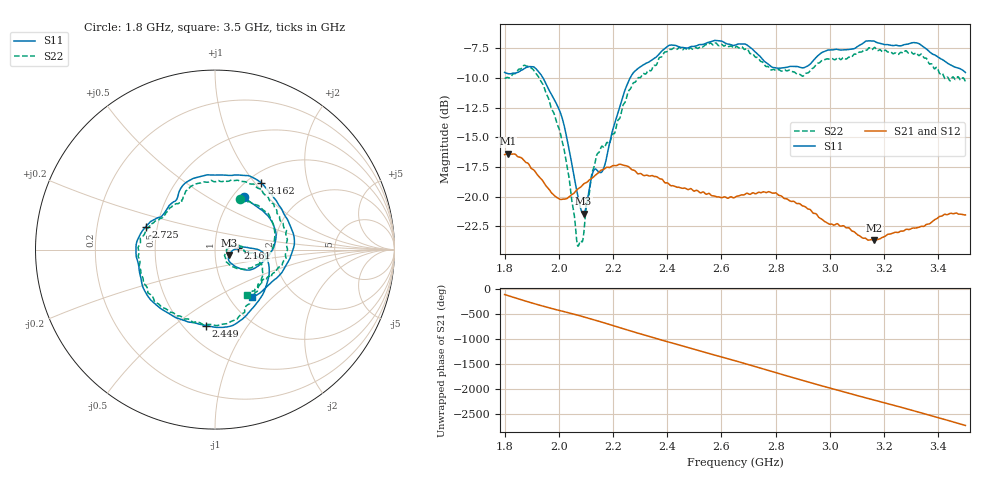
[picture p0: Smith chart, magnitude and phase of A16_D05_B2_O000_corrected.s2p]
! Created with skrf 1.9.0 (http://scikit-rf.org).
# Hz S RI R 50.0
!freq ReS11 ImS11 ReS21 ImS21 ReS12 ImS12 ReS22 ImS22
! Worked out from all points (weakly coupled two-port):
!   1601 points, 1.8 GHz to 3.5 GHz, reference 50 ohm
!   highest |S21| = -16.38 dB at 1.812 GHz (marker M1); lowest = -23.7 dB at 3.163 GHz (marker M2)
!   lowest |S11| = -21.4 dB at 2.091 GHz (marker M3), VSWR 1.18, Z = 58.5 - j3.59 ohm
!   |S11| at or under -10 dB: 1.942 GHz to 2.263 GHz (320.7 MHz wide, 15.3 % of centre)
!   |S22| runs from -24.2 to -7.0 dB; largest |S21 - S12| = 0.0027
!   S11 on the Smith chart (normalised r, x): 1.8 GHz: 1.13, +0.74; 2.161 GHz: 1.29, +0.02; 2.449 GHz: 0.64, -0.66; 2.725 GHz: 0.43, +0.13; 3.162 GHz: 1.15, +1.08; 3.5 GHz: 1.27, -0.75
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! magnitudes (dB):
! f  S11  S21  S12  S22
! 1.8 GHz  -9.5  -16.5  -16.5  -10.0
! 1.812 GHz  -9.6  -16.4  -16.4  -10.0
! 1.881 GHz  -9.1  -17.1  -17.1  -9.0
! 1.941 GHz  -10.0  -18.7  -18.7  -10.5
! 2.013 GHz  -13.4  -20.2  -20.2  -15.4
! 2.068 GHz  -19.7  -19.4  -19.4  -24.0
! 2.084 GHz  -21.2  -19.1  -19.1  -23.8
! 2.091 GHz  -21.4  -19.0  -19.0  -23.3
! 2.126 GHz  -17.9  -18.4  -18.4  -17.7
! 2.161 GHz  -17.9  -17.7  -17.7  -15.8
! 2.26 GHz  -10.1  -17.5  -17.5  -11.0
! 2.367 GHz  -8.0  -18.4  -18.4  -8.4
! 2.449 GHz  -7.4  -19.3  -19.3  -7.5
! 2.65 GHz  -7.2  -20.1  -20.0  -7.4
! 2.725 GHz  -7.8  -19.8  -19.7  -8.2
! 2.798 GHz  -9.1  -19.7  -19.7  -9.3
! 2.934 GHz  -8.7  -21.3  -21.3  -9.2
! 3.162 GHz  -6.9  -23.7  -23.7  -7.5
! 3.163 GHz  -6.9  -23.7  -23.7  -7.4
! 3.217 GHz  -7.2  -23.2  -23.2  -7.8
! 3.324 GHz  -7.1  -22.6  -22.6  -8.0
! 3.5 GHz  -9.5  -21.5  -21.5  -10.3
